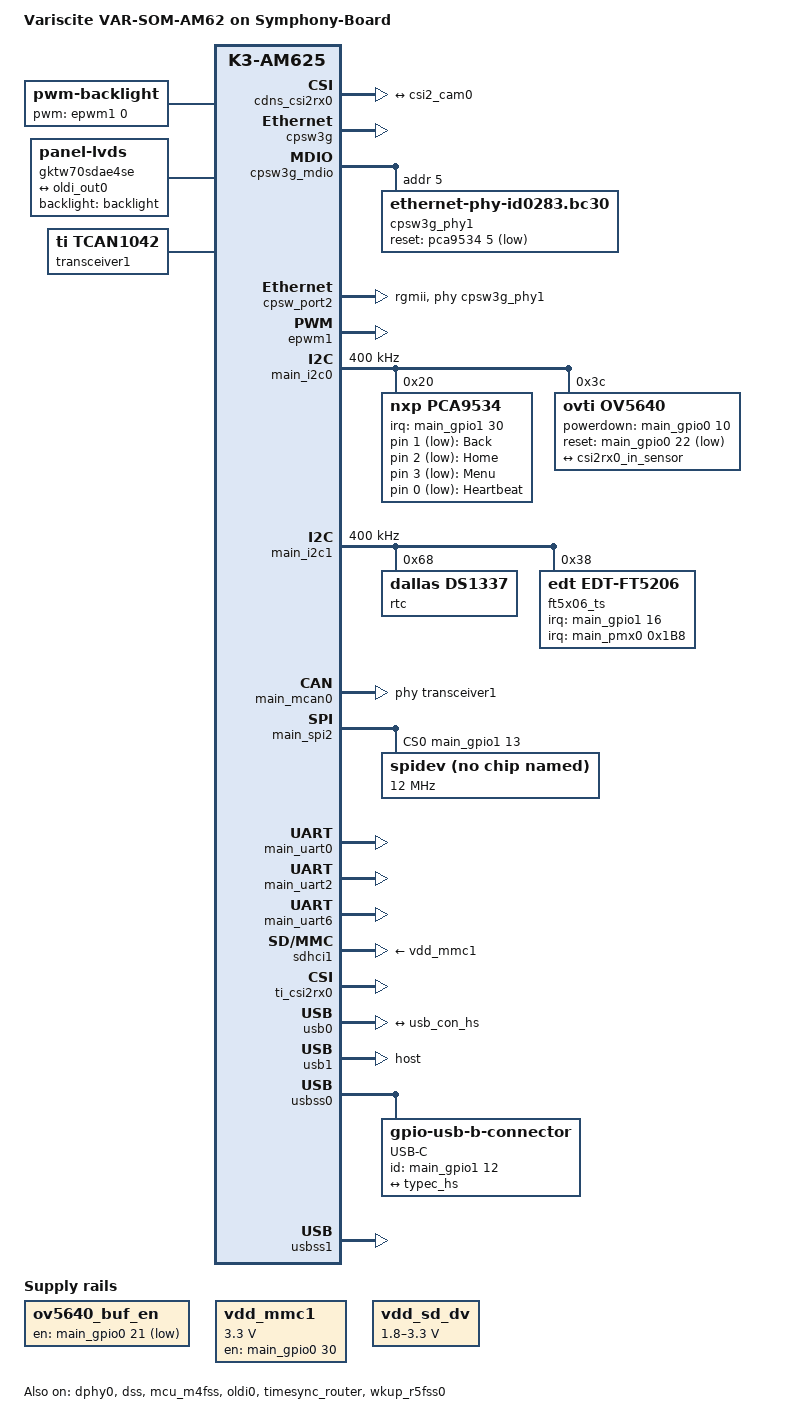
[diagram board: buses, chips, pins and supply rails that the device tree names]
// SPDX-License-Identifier: GPL-2.0
/*
 * VAR-SOM-AM62
 *
 * Copyright (C) 2021-2022 Texas Instruments Incorporated - https://www.ti.com/
 * Copyright (C) 2024-2025 Variscite Ltd. - https://www.variscite.com/
 */

/dts-v1/;

#include "k3-am625-var-som.dtsi"
#include "k3-timesync-router.h"

/ {
	model = "Variscite VAR-SOM-AM62 on Symphony-Board";

	aliases {
		ethernet0 = &cpsw_port1;
		ethernet1 = &cpsw_port2;
		mmc0 = &sdhci0;
		mmc1 = &sdhci1;
		mmc2 = &sdhci2;
		serial0 = &main_uart0;
		serial2 = &main_uart2;
		serial5 = &main_uart5;
		serial6 = &main_uart6;
		spi5 = &main_spi2;
		usb0 = &usb0;
		usb1 = &usb1;
	};

	backlight: backlight {
		compatible = "pwm-backlight";
		pwms = <&epwm1 0 1000000 PWM_POLARITY_NORMAL>;
		status = "okay";
		brightness-levels = < 0  1  2  3  4  5  6  7  8  9
				      10 11 12 13 14 15 16 17 18 19
				      20 21 22 23 24 25 26 27 28 29
				      30 31 32 33 34 35 36 37 38 39
				      40 41 42 43 44 45 46 47 48 49
				      50 51 52 53 54 55 56 57 58 59
				      60 61 62 63 64 65 66 67 68 69
				      70 71 72 73 74 75 76 77 78 79
				      80 81 82 83 84 85 86 87 88 89
				      90 91 92 93 94 95 96 97 98 99
				      100>;
		default-brightness-level = <80>;
	};

	chosen {
		stdout-path = "serial0:115200n8";
	};

	clk_ov5640_fixed: clock {
		#clock-cells = <0>;
		compatible = "fixed-clock";
		clock-frequency = <24000000>;
	};

	display {
		compatible = "panel-lvds";
		backlight = <&backlight>;
		width-mm = <153>;
		height-mm = <87>;
		label = "gktw70sdae4se";
		data-mapping = "jeida-18";
		status = "okay";

		panel-timing {
			clock-frequency = <30000000>;
			hactive = <800>;
			vactive = <480>;
			hback-porch = <40>;
			hfront-porch = <40>;
			vback-porch = <29>;
			vfront-porch = <13>;
			hsync-len = <48>;
			vsync-len = <3>;
			hsync-active = <0>;
			vsync-active = <0>;
			de-active = <1>;
		};

		ports {
			#address-cells = <1>;
			#size-cells = <0>;

			port@0 {
				reg = <0>;
				lcd_in0: endpoint {
					remote-endpoint = <&oldi_out0>;
				};
			};
		};
	};

	gpio-keys {
		compatible = "gpio-keys";
		status = "okay";
		back {
			label = "Back";
			linux,code = <KEY_BACK>;
			gpios = <&pca9534 1 GPIO_ACTIVE_LOW>;
		};

		home {
			label = "Home";
			linux,code = <KEY_HOME>;
			gpios = <&pca9534 2 GPIO_ACTIVE_LOW>;
		};

		menu {
			label = "Menu";
			linux,code = <KEY_MENU>;
			gpios = <&pca9534 3 GPIO_ACTIVE_LOW>;
		};
	};

	gpio-leds {
		compatible = "gpio-leds";
		status = "okay";

		heartbeat {
			label = "Heartbeat";
			linux,default-trigger = "heartbeat";
			gpios = <&pca9534 0 GPIO_ACTIVE_LOW>;
		};
	};

	ov5640_buf_en: ov5640-buf-en {
		compatible = "regulator-fixed";
		regulator-name = "ov5640_buf_en";
		gpio = <&main_gpio0 21 GPIO_ACTIVE_HIGH>;
		regulator-always-on;
		regulator-boot-on;
		status="okay";
	};

	vdd_mmc1: regulator-3 {
		bootph-all;
		compatible = "regulator-fixed";
		regulator-name = "SD_power_en";
		pinctrl-names = "default";
		pinctrl-0 = <&vdd_mmc1_pins_default>;
		regulator-min-microvolt = <3300000>;
		regulator-max-microvolt = <3300000>;
		regulator-boot-on;
		enable-active-high;
		gpio = <&main_gpio0 30 GPIO_ACTIVE_HIGH>;
		status="okay";
	};

	vdd_sd_dv: regulator-4 {
		bootph-all;
		compatible = "regulator-gpio";
		regulator-name = "SD_voltage_sel";
		pinctrl-names = "default";
		pinctrl-0 = <&vdd_sd_dv_pins_default>;
		regulator-min-microvolt = <1800000>;
		regulator-max-microvolt = <3300000>;
		regulator-boot-on;
		gpios = <&main_gpio0 56 GPIO_ACTIVE_HIGH>;
		states = <1800000 0x0>,
				 <3300000 0x1>;
		status="okay";
	};

	transceiver1: can-phy0 {
		compatible = "ti,tcan1042";
		#phy-cells = <0>;
		max-bitrate = <5000000>;
	};
};

&cdns_csi2rx0 {
	ports {
		#address-cells = <1>;
		#size-cells = <0>;

		csi0_port0: port@0 {
			reg = <0>;
			status = "okay";

			csi2rx0_in_sensor: endpoint {
				remote-endpoint = <&csi2_cam0>;
				bus-type = <4>; /* CSI2 DPHY. */
				clock-lanes = <0>;
				data-lanes = <1 2>;
			};
		};
	};
};

&cpsw3g {
	bootph-all;
	status = "okay";
	pinctrl-names = "default";
	pinctrl-0 = <&main_rgmii1_pins_default>, <&main_rgmii2_pins_default>;

	cpts@3d000 {
		/* MAP HW3_TS_PUSH to GENF1 */
		ti,pps = <2 1>;
	};
};

&cpsw3g_mdio {
	status = "okay";
	pinctrl-names = "default";
	pinctrl-0 = <&main_mdio1_pins_default>;
	cpsw3g_phy1: ethernet-phy@5 {
		reg = <5>;
		compatible = "ethernet-phy-id0283.bc30";
		reset-gpios = <&pca9534 5 GPIO_ACTIVE_LOW>;
		reset-assert-us = <10000>;
		reset-deassert-us = <20000>;
	};
};

&cpsw_port2 {
	bootph-all;
	phy-mode = "rgmii";
	phy-handle = <&cpsw3g_phy1>;
	status = "okay";
};

&csi0_port0 {
	status = "okay";

	csi2rx0_in_sensor: endpoint {
		remote-endpoint = <&csi2_cam0>;
		bus-type = <4>; /* CSI2 DPHY. */
		clock-lanes = <0>;
		data-lanes = <1 2>;
	};
};

&dphy0 {
	status = "okay";
};

&dss {
	status = "okay";
};

&dss_ports {
	#address-cells = <1>;
	#size-cells = <0>;

	/* VP1: LVDS Output (OLDI TX 0) */
	port@0 {
		reg = <0>;
		#address-cells = <1>;
		#size-cells = <0>;

		oldi_out0: endpoint@0 {
			reg = <0>;
			remote-endpoint = <&oldi_0_in>;
		};
	};
};

&epwm1 {
	status = "okay";
	pinctrl-names = "default";
	pinctrl-0 = <&main_epwm1_pins_default>;
};

&mailbox0_cluster0 {
	mbox_m4_0: mbox-m4-0 {
		ti,mbox-rx = <0 0 0>;
		ti,mbox-tx = <1 0 0>;
	};

	mbox_r5_0: mbox-r5-0 {
		ti,mbox-rx = <2 0 0>;
		ti,mbox-tx = <3 0 0>;
	};
};

&main_gpio0 {
	bootph-all;
};

&main_i2c0{
	bootph-all;
	status = "okay";
	pinctrl-names = "default";
	pinctrl-0 = <&main_i2c0_pins_default>;
	clock-frequency = <400000>;

	/* GPIO expander */
	pca9534: gpio@20 {
		bootph-all;
		compatible = "nxp,pca9534";
		reg = <0x20>;
		gpio-controller;
		pinctrl-names = "default";
		pinctrl-0 = <&pca9534_irq_default>;
		interrupt-parent = <&main_gpio1>;
		interrupts = <30 IRQ_TYPE_EDGE_FALLING>;
		#gpio-cells = <2>;
		status = "okay";

		usb3_sel_hog {
			gpio-hog;
			gpios = <4 0>;
			output-low;
			line-name = "usb3_sel";
		};

		eth_som_vselect_hog {
			gpio-hog;
			gpios = <6 0>;
			output-low;
			line-name = "eth-vselect";
		};

		eth_mdio_enable_hog {
			gpio-hog;
			gpios = <7 0>;
			output-high;
			line-name = "eth-mdio-enable";
		};
	};

	ov5640: camera@3c {
		compatible = "ovti,ov5640";
		reg = <0x3c>;

		clocks = <&clk_ov5640_fixed>;
		clock-names = "xclk";

		powerdown-gpios = <&main_gpio0 10 GPIO_ACTIVE_HIGH>;
		reset-gpios = <&main_gpio0 22 GPIO_ACTIVE_LOW>;

		pinctrl-names = "default";
		pinctrl-0 = <&ov5640_pins_default>;

		port {
			csi2_cam0: endpoint {
				remote-endpoint = <&csi2rx0_in_sensor>;
				clock-lanes = <0>;
				data-lanes = <1 2>;
			};
		};
	};
};

&main_i2c1 {
	pinctrl-names = "default";
	pinctrl-0 = <&main_i2c1_pins_default>;
	clock-frequency = <400000>;
	status = "okay";

	/* DS1337 RTC module */
	rtc@68 {
		compatible = "dallas,ds1337";
		reg = <0x68>;
		status = "okay";
	};

	/* Capacitive touch controller */
	ft5x06_ts: ft5x06_ts@38 {
		compatible = "edt,edt-ft5206";
		reg = <0x38>;
		pinctrl-names = "default";
		pinctrl-0 = <&captouch_pins_default>;
		interrupts-extended = <&main_gpio1 16 IRQ_TYPE_EDGE_FALLING>,
							  <&main_pmx0 0x1B8>;
		interrupt-names = "irq", "wakeup";
		touchscreen-size-x = <800>;
		touchscreen-size-y = <480>;
		touchscreen-inverted-x;
		touchscreen-inverted-y;
		wakeup-source;
		status = "okay";
	};
};

&main_mcan0 {
	status = "okay";
	pinctrl-names = "default";
	pinctrl-0 = <&main_mcan0_pins_default>;
	phys = <&transceiver1>;
};

&main_pmx0 {
	captouch_pins_default: captouch-default-pins {
		pinctrl-single,pins = <
			AM62X_IOPAD(0x01b8, PIN_INPUT, 7) /* (C13) SPI0_CS1.GPIO1_16 */
		>;
	};

	extcon_pins_default: extcon-default-pins {
		pinctrl-single,pins = <
			AM62X_IOPAD(0x01a8, PIN_INPUT, 7) /* (D20) MCASP0_AFSX.GPIO1_12 */
		>;
	};

	main_epwm1_pins_default: main-epwm1-default-pins {
		pinctrl-single,pins = <
			AM62X_IOPAD(0x019c, PIN_OUTPUT, 6) /* (B18) MCASP0_AXR1.EHRPWM1_A */
		>;
	};

	main_i2c0_pins_default: main-i2c0-default-pins {
		pinctrl-single,pins = <
			AM62X_IOPAD(0x1e0, PIN_INPUT_PULLUP, 0) /* (B16) I2C0_SCL */
			AM62X_IOPAD(0x1e4, PIN_INPUT_PULLUP, 0) /* (A16) I2C0_SDA */
		>;
	};

	main_i2c1_pins_default: main-i2c1-default-pins {
		bootph-all;
		pinctrl-single,pins = <
			AM62X_IOPAD(0x1e8, PIN_INPUT_PULLUP, 0) /* (B17) I2C1_SCL */
			AM62X_IOPAD(0x1ec, PIN_INPUT_PULLUP, 0) /* (A17) I2C1_SDA */
		>;
	};

	main_mcan0_pins_default: main-mcan0-default-pins {
		pinctrl-single,pins = <
			AM62X_IOPAD(0x1dc, PIN_INPUT, 0) /* (E15) MCAN0_RX */
			AM62X_IOPAD(0x1d8, PIN_OUTPUT, 0) /* (C15) MCAN0_TX */
		>;
	};

	main_mmc1_pins_default: main-mmc1-default-pins {
		bootph-all;
		pinctrl-single,pins = <
			AM62X_IOPAD(0x23c, PIN_INPUT, 0) /* (A21) MMC1_CMD */
			AM62X_IOPAD(0x234, PIN_INPUT, 0) /* (B22) MMC1_CLK */
			AM62X_IOPAD(0x230, PIN_INPUT, 0) /* (A22) MMC1_DAT0 */
			AM62X_IOPAD(0x22c, PIN_INPUT, 0) /* (B21) MMC1_DAT1 */
			AM62X_IOPAD(0x228, PIN_INPUT, 0) /* (C21) MMC1_DAT2 */
			AM62X_IOPAD(0x224, PIN_INPUT, 0) /* (D22) MMC1_DAT3 */
			AM62X_IOPAD(0x240, PIN_INPUT, 0) /* (D17) MMC1_SDCD */
		>;
	};

	main_rgmii2_pins_default: main-rgmii2-default-pins {
		bootph-all;
		pinctrl-single,pins = <
			AM62X_IOPAD(0x184, PIN_INPUT, 0) /* (AE23) RGMII2_RD0 */
			AM62X_IOPAD(0x188, PIN_INPUT, 0) /* (AB20) RGMII2_RD1 */
			AM62X_IOPAD(0x18c, PIN_INPUT, 0) /* (AC21) RGMII2_RD2 */
			AM62X_IOPAD(0x190, PIN_INPUT, 0) /* (AE22) RGMII2_RD3 */
			AM62X_IOPAD(0x180, PIN_INPUT, 0) /* (AD23) RGMII2_RXC */
			AM62X_IOPAD(0x17c, PIN_INPUT, 0) /* (AD22) RGMII2_RX_CTL */
			AM62X_IOPAD(0x16c, PIN_INPUT, 0) /* (Y18) RGMII2_TD0 */
			AM62X_IOPAD(0x170, PIN_INPUT, 0) /* (AA18) RGMII2_TD1 */
			AM62X_IOPAD(0x174, PIN_INPUT, 0) /* (AD21) RGMII2_TD2 */
			AM62X_IOPAD(0x178, PIN_INPUT, 0) /* (AC20) RGMII2_TD3 */
			AM62X_IOPAD(0x168, PIN_INPUT_PULLDOWN, 0) /* (AE21) RGMII2_TXC */
			AM62X_IOPAD(0x164, PIN_INPUT, 0) /* (AA19) RGMII2_TX_CTL */
		>;
	};

	main_spi2_pins_default: main_spi2-default-pins {
		pinctrl-single,pins = <
			AM62X_IOPAD(0x01b0, PIN_INPUT, 1) /* (A20) MCASP0_ACLKR.SPI2_CLK */
			AM62X_IOPAD(0x0194, PIN_OUTPUT, 1) /* (B19) MCASP0_AXR3.SPI2_D0 */
			AM62X_IOPAD(0x0198, PIN_INPUT, 1) /* (A19) MCASP0_AXR2.SPI2_D1 */
			AM62X_IOPAD(0x01ac, PIN_OUTPUT, 7) /* (E19) MCASP0_AFSR.GPIO1_13 */
		>;
	};

	main_uart0_pins_default: main-uart0-default-pins {
		bootph-all;
		pinctrl-single,pins = <
			AM62X_IOPAD(0x1c8, PIN_INPUT, 0) /* (D14) UART0_RXD */
			AM62X_IOPAD(0x1cc, PIN_OUTPUT, 0) /* (E14) UART0_TXD */
		>;
	};

	main_uart2_pins_default: main-uart2-default-pins {
		pinctrl-single,pins = <
			AM62X_IOPAD(0x005c, PIN_INPUT_PULLUP, 2) /* (R24) GPMC0_AD8.UART2_RXD */
			AM62X_IOPAD(0x0060, PIN_OUTPUT, 2) /* (R25) GPMC0_AD9.UART2_TXD */
		>;
	};

	main_uart6_pins_default: main-uart6-default-pins {
		pinctrl-single,pins = <
			AM62X_IOPAD(0x009c, PIN_INPUT, 3) /* (V25) GPMC0_WAIT1.UART6_RXD */
			AM62X_IOPAD(0x0244, PIN_OUTPUT, 1) /* (C17) MMC1_SDWP.UART6_TXD */
		>;
	};

	main_usb1_pins_default: main-usb1-default-pins {
		pinctrl-single,pins = <
			AM62X_IOPAD(0x0258, PIN_OUTPUT, 0) /* (F18) USB1_DRVVBUS */
		>;
	};

	ov5640_pins_default: ov5640-default-pins {
		pinctrl-single,pins = <
			AM62X_IOPAD(0x0028, PIN_OUTPUT, 7) /* (J22) OSPI0_D7.GPIO0_10 */
			AM62X_IOPAD(0x0054, PIN_OUTPUT, 7) /* (P21) GPMC0_AD6.GPIO0_21 */
			AM62X_IOPAD(0x0058, PIN_OUTPUT, 7) /* (R23) GPMC0_AD7.GPIO0_22 */
		>;
	};

	pca9534_irq_default: pca9534_irq_default {
		pinctrl-single,pins = <
			AM62X_IOPAD(0x01f0, PIN_INPUT, 7) /* (A18) EXT_REFCLK1.GPIO1_30 */
		>;
	};

	vdd_mmc1_pins_default: vdd-mmc1-default-pins {
		pinctrl-single,pins = <
			AM62X_IOPAD(0x0078, PIN_OUTPUT, 7) /* (U24) GPMC0_AD15.GPIO0_30 */
		>;
	};

	vdd_sd_dv_pins_default: vdd-sd-dv-default-pins {
		pinctrl-single,pins = <
			AM62X_IOPAD(0x00e4, PIN_OUTPUT, 7) /* (AA23) VOUT0_DATA11.GPIO0_56 */
		>;
	};

	wkup_uart0_pins_default: wkup-uart0-default-pins {
		bootph-pre-ram;
		pinctrl-single,pins = <
			AM62X_MCU_IOPAD(0x02c, PIN_INPUT, 0) /* (C6/A7) WKUP_UART0_CTSn */
			AM62X_MCU_IOPAD(0x030, PIN_OUTPUT, 0) /* (A4/B4) WKUP_UART0_RTSn */
			AM62X_MCU_IOPAD(0x024, PIN_INPUT, 0) /* (B4/B5) WKUP_UART0_RXD */
			AM62X_MCU_IOPAD(0x028, PIN_OUTPUT, 0) /* (C5/C6) WKUP_UART0_TXD */
		>;
	};
};

&main_spi2 {
	status = "okay";
	pinctrl-names = "default";
	pinctrl-0 = <&main_spi2_pins_default>;
	ti,pindir-d0-out-d1-in = <1>;
	cs-gpios = <&main_gpio1 13 GPIO_ACTIVE_HIGH>;

	spidev@0 {
		compatible = "var,spidev";
		reg = <0>;
		spi-max-frequency = <12000000>;
		status = "okay";
	};
};

&main_uart0 {
	bootph-all;
	status = "okay";
	pinctrl-names = "default";
	pinctrl-0 = <&main_uart0_pins_default>;
};

&main_uart1 {
	/* Main UART1 is used by TIFS firmware */
	status = "reserved";
};

&main_uart2 {
	pinctrl-names = "default";
	pinctrl-0 = <&main_uart2_pins_default>;
	status = "okay";
};

&main_uart6 {
	pinctrl-names = "default";
	pinctrl-0 = <&main_uart6_pins_default>;
	status = "okay";
};

&mcu_gpio0 {
	status = "reserved";
};

&mcu_gpio_intr {
	status = "reserved";
};

&mcu_m4fss {
	status="okay";
	mboxes = <&mailbox0_cluster0 &mbox_m4_0>;
	memory-region = <&mcu_m4fss_dma_memory_region>,
			<&mcu_m4fss_memory_region>;
};

&mcu_rti0 {
	/* MCU RTI0 is used by M4F firmware */
	status = "reserved";
};

&oldi0 {
	status = "okay";
};

&oldi0_ports {
	#address-cells = <1>;
	#size-cells = <0>;

	port@0 {
		reg = <0>;
		oldi_0_in: endpoint {
			remote-endpoint = <&oldi_out0>;
		};
	};

	port@1 {
		reg = <1>;
		oldi_0_out: endpoint {
			remote-endpoint = <&lcd_in0>;
		};
	};
};

&sdhci1 {
	/* SD Card */
	bootph-all;
	vmmc-supply = <&vdd_mmc1>;
	vqmmc-supply = <&vdd_sd_dv>;
	pinctrl-names = "default";
	pinctrl-0 = <&main_mmc1_pins_default>;
	disable-wp;
	status="okay";
};

&ti_csi2rx0 {
	status = "okay";
};

&timesync_router {
	mux-reg-masks-state = <
		K3_TS_OFFSET(12, 0x0001ffff, 17)
		>;
	status = "okay";
};

&usb0 {
	#address-cells = <1>;
	#size-cells = <0>;
	usb-role-switch;
	status="okay";

	port {
		typec_hs: endpoint {
			remote-endpoint = <&usb_con_hs>;
		};
	};
};

&usb1 {
	dr_mode = "host";
	pinctrl-names = "default";
	pinctrl-0 = <&main_usb1_pins_default>;
	status="okay";
};

&usbss0 {
	bootph-all;
	status = "okay";

	connector {
		compatible = "gpio-usb-b-connector","usb-c-connector";
		pinctrl-names = "default";
		pinctrl-0 = <&extcon_pins_default>;
		label = "USB-C";
		id-gpios = <&main_gpio1 12 GPIO_ACTIVE_HIGH>;
		status = "okay";

		port {
			usb_con_hs: endpoint {
				remote-endpoint = <&typec_hs>;
			};
		};
	};
};

&usbss1 {
	status = "okay";
};

&wkup_r5fss0 {
	status = "okay";
};

&wkup_r5fss0_core0 {
	mboxes = <&mailbox0_cluster0 &mbox_r5_0>;
	memory-region = <&wkup_r5fss0_core0_dma_memory_region>,
			<&wkup_r5fss0_core0_memory_region>;
};

&wkup_rtc0 {
	status = "disabled";
};

&wkup_rti0 {
	/* WKUP RTI0 is used by DM firmware */
	status = "reserved";
};

&wkup_uart0 {
	/* WKUP UART0 is used by DM firmware */
	bootph-pre-ram;
	status = "reserved";
	pinctrl-names = "default";
	pinctrl-0 = <&wkup_uart0_pins_default>;
};
